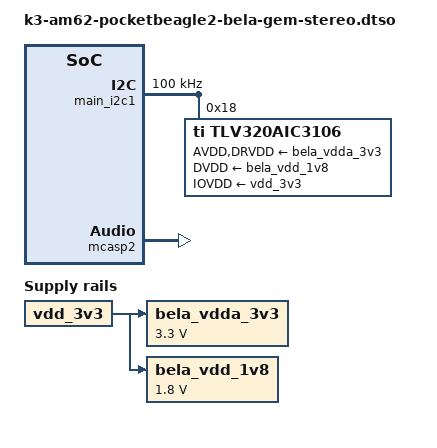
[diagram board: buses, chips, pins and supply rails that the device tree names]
// SPDX-License-Identifier: GPL-2.0
/*
 * PocketBeagle2 + Bela Gem Stereo audio overlay
 *
 * Hardware:
 *   Codec:        TLV320AIC3106 (I2C1, addr 0x18, CODEC_ADDR pin tied low)
 *   CPU DAI:      McASP2 (AM62x)
 *   Clock master: TLV320AIC3106 (generates BCLK + WCLK from McASP MCLK via PLL)
 *
 * Clock topology:
 *   AM62x audio_refclk1 (12.288 MHz) -> P2.11 MCLK -> TLV320AIC3106 MCLK_IN
 *   TLV320AIC3106 PLL                -> P2.19 BCLK
 *   TLV320AIC3106 PLL                -> P2.10 WCLK
 *   McASP2 is BCLK slave + WCLK slave (ACLKX and AFSX are inputs)
 *
 * MCLK is enabled at stream start by simple-audio-card mclk-fs (set_sysclk),
 * which clk_prepare_enable()s audio_refclk1. Without it the refclk stays gated
 * (enable_cnt=0) and codec register writes fail with -16/-121.
 *
 * Pin assignments:
 *   P1.33  I2C1_SDA      AUD_SDA  (I2C data)
 *   P1.36  I2C1_SCL      AUD_SCL  (I2C clock)
 *   P2.05  MCASP2_AXR0   TX  -> TLV DIN  (SoC->codec, playback)
 *   P2.07  MCASP2_AXR1   RX  <- TLV DOUT (codec->SoC, capture)
 *   P2.10  MCASP2_AFSX       WCLK (codec-driven, McASP input)
 *   P2.11  AUDIO_EXT_REFCLK1 MCLK output to codec
 *   P2.19  MCASP2_ACLKX      BCLK (codec-driven, McASP input)
 */

#include <dt-bindings/gpio/gpio.h>
#include "k3-pinctrl.h"

/dts-v1/;
/plugin/;

&{/chosen} {
	overlays {
		k3-am62-pocketbeagle2-bela-gem-stereo.kernel = __TIMESTAMP__;
	};
};

&{/} {
	bela_vdda_3v3: regulator-bela-vdda-3v3 {
		compatible = "regulator-fixed";
		regulator-name = "bela_vdda_3v3";
		regulator-min-microvolt = <3300000>;
		regulator-max-microvolt = <3300000>;
		vin-supply = <&vdd_3v3>;
		regulator-always-on;
		regulator-boot-on;
	};

	bela_vdd_1v8: regulator-bela-vdd-1v8 {
		compatible = "regulator-fixed";
		regulator-name = "bela_vdd_1v8";
		regulator-min-microvolt = <1800000>;
		regulator-max-microvolt = <1800000>;
		vin-supply = <&vdd_3v3>;
		regulator-always-on;
		regulator-boot-on;
	};

	bela_stereo_sound: sound-bela-stereo {
		compatible = "simple-audio-card";
		simple-audio-card,name = "BelaGemStereo";

		simple-audio-card,widgets =
			"Headphone", "Headphone Jack",
			"Line",       "Line In";

		simple-audio-card,routing =
			"Headphone Jack", "HPLOUT",
			"Headphone Jack", "HPROUT",
			"LINE1L",         "Line In",
			"LINE1R",         "Line In";

		/* I2S format - confirmed by oscilloscope */
		simple-audio-card,format = "i2s";

		/* TLV320AIC3106 is both BCLK master and WCLK (frame) master */
		simple-audio-card,bitclock-master = <&bela_stereo_codec_dai>;
		simple-audio-card,frame-master   = <&bela_stereo_codec_dai>;

		/*
		 * MCLK: the codec DAI 'clocks' phandle below gives simple-card
		 * the clk handle it uses to clk_prepare_enable() audio_refclk1 and
		 * clk_set_rate() it to mclk-fs x Fs (256 x 48000 = 12.288 MHz).
		 * Both mclk-fs AND the phandle are required: without the phandle
		 * simple_dai->clk is NULL, the refclk stays gated (enable_cnt=0),
		 * and the codec PLL gets no MCLK -> no BCLK/WCLK -> McASP -5/EIO.
 */
		simple-audio-card,mclk-fs = <256>;

		simple-audio-card,cpu {
			sound-dai = <&mcasp2>;
		};

		bela_stereo_codec_dai: simple-audio-card,codec {
			sound-dai = <&tlv320aic3106>;
			clocks = <&audio_refclk1>;
		};
	};
};

&main_pmx0 {
	bela_stereo_i2c1_pins: bela-stereo-i2c1-pins {
		pinctrl-single,pins = <
			AM62X_IOPAD(0x01e8, PIN_INPUT_PULLUP, 0) /* (B17) I2C1_SCL, P1.36 AUD_SCL */
			AM62X_IOPAD(0x01ec, PIN_INPUT_PULLUP, 0) /* (A17) I2C1_SDA, P1.33 AUD_SDA */
		>;
	};

	/*
	 * I2C pullup compensation: PB2-to-Gem cape routing has marginal signal
	 * quality on I2C1. These neighbouring GPIO pads with pullup enabled
	 * boost the SCL/SDA lines. Same technique as PB2-BELA.dtso.
 */
	bela_stereo_i2c1_pullup_sda: bela-stereo-i2c1-pullup-sda-pins {
		pinctrl-single,pins = <
			AM62X_IOPAD(0x00e4, PIN_INPUT_PULLUP, 7) /* (AA23) VOUT0_DATA11.GPIO0_56, pullup for SDA */
		>;
	};

	bela_stereo_i2c1_pullup_scl: bela-stereo-i2c1-pullup-scl-pins {
		pinctrl-single,pins = <
			AM62X_IOPAD(0x00e0, PIN_INPUT_PULLUP, 7) /* (V20) VOUT0_DATA10.GPIO0_55, pullup for SCL */
		>;
	};

	bela_stereo_audio_pins: bela-stereo-audio-pins {
		pinctrl-single,pins = <
			/*
			 *   AXR0 (P2.05) = TX (SoC -> codec DIN, playback) = PIN_OUTPUT
			 *   AXR1 (P2.07) = RX (codec DOUT -> SoC, capture) = PIN_INPUT
 */
			AM62X_IOPAD(0x01d8, PIN_OUTPUT, 8) /* (C15) MCAN0_TX.MCASP2_AXR0,    P2.05 TX -> codec DIN */
			AM62X_IOPAD(0x01dc, PIN_INPUT,  8) /* (E15) MCAN0_RX.MCASP2_AXR1,    P2.07 RX <- codec DOUT */
			AM62X_IOPAD(0x0174, PIN_INPUT,  2) /* (AD21) RGMII2_TD2.MCASP2_AFSX,  P2.10 WCLK (codec-driven) */
			AM62X_IOPAD(0x0178, PIN_INPUT,  2) /* (AC20) RGMII2_TD3.MCASP2_ACLKX, P2.19 BCLK (codec-driven) */
		>;
	};

	bela_stereo_mclk_pins: bela-stereo-mclk-pins {
		pinctrl-single,pins = <
			AM62X_IOPAD(0x01d4, PIN_OUTPUT, 5) /* (B15) UART0_RTSn.AUDIO_EXT_REFCLK1, P2.11 MCLK out */
		>;
	};
};

&audio_refclk1 {
	/* 12.288 MHz (96 MHz / 8). Codec PLL derives BCLK/WCLK from this. */
	assigned-clock-rates = <12288000>;
	pinctrl-names = "default";
	pinctrl-0 = <&bela_stereo_mclk_pins>;
};

&main_i2c1 {
	#address-cells = <1>;
	#size-cells = <0>;
	status = "okay";
	clock-frequency = <100000>;
	pinctrl-names = "default";
	pinctrl-0 = <&bela_stereo_i2c1_pins>,
		    <&bela_stereo_i2c1_pullup_sda>,
		    <&bela_stereo_i2c1_pullup_scl>;

	tlv320aic3106: audio-codec@18 {
		compatible = "ti,tlv320aic3106";
		reg = <0x18>;        /* CODEC_ADDR low = 0x18; use 0x1B if tied high */
		#sound-dai-cells = <0>;

		clocks = <&audio_refclk1>;

		/* Power supplies (verified against GemStereo_rev_A4 schematic) */
		AVDD-supply  = <&bela_vdda_3v3>;   /* 3.3V analog */
		DVDD-supply  = <&bela_vdd_1v8>;    /* 1.8V digital core */
		DRVDD-supply = <&bela_vdda_3v3>;   /* 3.3V driver */
		IOVDD-supply = <&vdd_3v3>;          /* 3.3V I/O */
	};
};

&mcasp2 {
	#sound-dai-cells = <0>;
	pinctrl-names = "default";
	pinctrl-0 = <&bela_stereo_audio_pins>;
	status = "okay";

	/*
	 * No assigned-clocks: McASP2 is a pure BCLK/WCLK slave. MCLK (P2.11)
	 * is driven by audio_refclk1; the codec PLL derives BCLK/WCLK.
 */

	op-mode   = <0>;    /* DAVINCI_MCASP_IIS_MODE */
	tdm-slots = <2>;    /* stereo I2S */

	/*
	 *   AXR0 (P2.05) = TX (1) = SoC -> codec DIN = playback
	 *   AXR1 (P2.07) = RX (2) = codec DOUT -> SoC = capture
 */
	serial-dir = <
		1 2 0 0
		0 0 0 0
		0 0 0 0
		0 0 0 0
	>;

	tx-num-evt = <1>;
	rx-num-evt = <1>;
};
